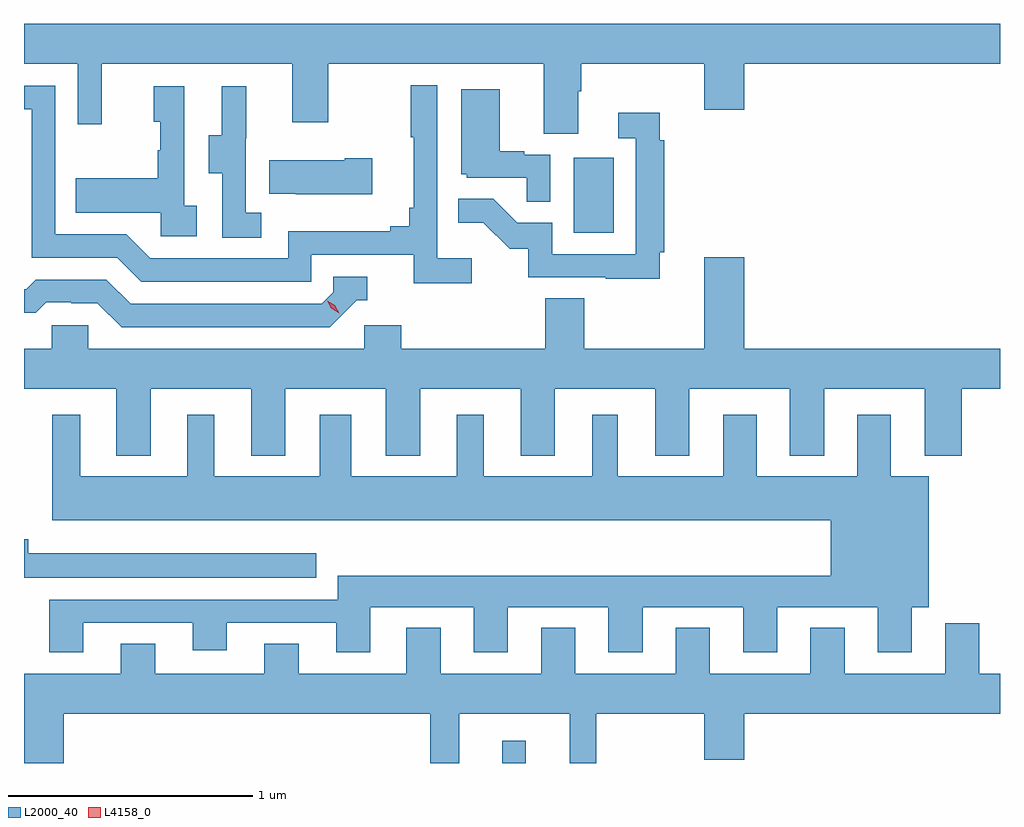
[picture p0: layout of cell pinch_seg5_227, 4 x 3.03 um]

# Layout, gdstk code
import gdstk
lib = gdstk.Library(unit=1e-6, precision=1e-09)
def R(c, l, rs):  # rectangles x0, y0, x1, y1
    for r in rs: c.add(gdstk.rectangle(r[:2], r[2:], *l))
def P(c, l, *ps):  # polygons
    for p in ps: c.add(gdstk.Polygon(p, *l))
L2000_40 = (2000, 40)
L4158_0 = (4158, 0)

pinch_seg5_227 = lib.new_cell('pinch_seg5_227')
R(pinch_seg5_227, L2000_40, [(955.388,893.855,955.485,893.947), (955.682,896.028,955.846,896.335)])
P(pinch_seg5_227, L2000_40, [(955.699,896.608),(955.712,896.608),(955.712,896.72),(956.216,896.72),(956.216,896.532),(956.38,896.532),(956.38,896.72),(957.428,896.72),(957.428,896.884),(953.428,896.884),(953.428,896.72),(953.649,896.72),(953.649,896.472),(953.747,896.472),(953.747,896.72),(954.527,896.72),(954.527,896.481),(954.675,896.481),(954.675,896.72),(955.559,896.72),(955.559,896.434),(955.699,896.434)],
  [(955.264,895.924),(955.122,895.924),(955.122,896.632),(955.014,896.632),(955.014,896.419),(955.025,896.419),(955.025,896.131),(955.006,896.131),(955.006,896.054),(954.929,896.054),(954.929,896.035),(954.51,896.035),(954.51,895.923),(953.946,895.923),(953.847,896.022),(953.556,896.022),(953.556,896.631),(953.428,896.631),(953.428,896.535),(953.46,896.535),(953.46,895.926),(953.81,895.926),(953.909,895.827),(954.606,895.827),(954.606,895.938),(955.025,895.938),(955.025,895.822),(955.264,895.822)],
  [(954.4,896.111),(954.336,896.111),(954.336,896.415),(954.338,896.415),(954.338,896.629),(954.239,896.629),(954.239,896.427),(954.185,896.427),(954.185,896.272),(954.24,896.272),(954.24,896.008),(954.4,896.008)],
  [(954.136,896.138),(954.084,896.138),(954.084,896.629),(953.96,896.629),(953.96,896.484),(953.986,896.484),(953.986,896.366),(953.976,896.366),(953.976,896.251),(953.641,896.251),(953.641,896.111),(953.988,896.111),(953.988,896.013),(954.136,896.013)],
  [(955.584,896.349),(955.478,896.349),(955.478,896.362),(955.378,896.362),(955.378,896.617),(955.22,896.617),(955.22,896.268),(955.242,896.268),(955.242,896.253),(955.489,896.253),(955.489,896.155),(955.584,896.155)],
  [(956.033,895.948),(956.051,895.948),(956.051,896.408),(956.033,896.408),(956.033,896.521),(955.863,896.521),(955.863,896.415),(955.935,896.415),(955.935,895.941),(955.593,895.941),(955.593,896.07),(955.449,896.07),(955.351,896.168),(955.207,896.168),(955.207,896.069),(955.311,896.069),(955.418,895.962),(955.495,895.962),(955.495,895.845),(955.813,895.845),(955.813,895.84),(956.033,895.84)],
  [(954.856,896.334),(954.743,896.334),(954.743,896.326),(954.433,896.326),(954.433,896.189),(954.541,896.189),(954.541,896.186),(954.856,896.186)],
  [(953.947,895.388),(954.359,895.388),(954.359,895.115),(954.499,895.115),(954.499,895.388),(954.911,895.388),(954.911,895.115),(955.051,895.115),(955.051,895.388),(955.463,895.388),(955.463,895.115),(955.603,895.115),(955.603,895.388),(956.015,895.388),(956.015,895.115),(956.155,895.115),(956.155,895.388),(956.567,895.388),(956.567,895.115),(956.707,895.115),(956.707,895.388),(957.119,895.388),(957.119,895.115),(957.272,895.115),(957.272,895.388),(957.428,895.388),(957.428,895.552),(956.38,895.552),(956.38,895.927),(956.216,895.927),(956.216,895.552),(955.725,895.552),(955.725,895.76),(955.565,895.76),(955.565,895.552),(954.974,895.552),(954.974,895.65),(954.822,895.65),(954.822,895.552),(953.691,895.552),(953.691,895.65),(953.541,895.65),(953.541,895.552),(953.428,895.552),(953.428,895.388),(953.807,895.388),(953.807,895.115),(953.947,895.115)],
  [(954.792,895.752),(954.835,895.752),(954.835,895.848),(954.696,895.848),(954.696,895.785),(954.648,895.737),(953.865,895.737),(953.766,895.836),(953.477,895.836),(953.438,895.797),(953.428,895.797),(953.428,895.701),(953.477,895.701),(953.519,895.743),(953.622,895.743),(953.622,895.74),(953.729,895.74),(953.828,895.641),(954.681,895.641)],
  [(953.671,894.429),(954.119,894.429),(954.119,894.317),(954.259,894.317),(954.259,894.429),(954.707,894.429),(954.707,894.309),(954.847,894.309),(954.847,894.494),(955.271,894.494),(955.271,894.309),(955.411,894.309),(955.411,894.494),(955.823,894.494),(955.823,894.309),(955.963,894.309),(955.963,894.494),(956.375,894.494),(956.375,894.309),(956.515,894.309),(956.515,894.494),(956.927,894.494),(956.927,894.309),(957.067,894.309),(957.067,894.494),(957.136,894.494),(957.136,895.03),(956.98,895.03),(956.98,895.282),(956.843,895.282),(956.843,895.03),(956.431,895.03),(956.431,895.282),(956.294,895.282),(956.294,895.03),(955.861,895.03),(955.861,895.282),(955.757,895.282),(955.757,895.03),(955.312,895.03),(955.312,895.282),(955.202,895.282),(955.202,895.03),(954.769,895.03),(954.769,895.282),(954.641,895.282),(954.641,895.03),(954.208,895.03),(954.208,895.282),(954.098,895.282),(954.098,895.03),(953.659,895.03),(953.659,895.282),(953.543,895.282),(953.543,894.851),(956.735,894.851),(956.735,894.622),(954.713,894.622),(954.713,894.525),(953.531,894.525),(953.531,894.309),(953.671,894.309)],
  [(954.625,894.715),(953.446,894.715),(953.446,894.772),(953.428,894.772),(953.428,894.614),(954.625,894.614)],
  [(953.59,894.056),(955.093,894.056),(955.093,893.855),(955.211,893.855),(955.211,894.056),(955.664,894.056),(955.664,893.855),(955.774,893.855),(955.774,894.056),(956.216,894.056),(956.216,893.868),(956.38,893.868),(956.38,894.056),(957.428,894.056),(957.428,894.22),(957.343,894.22),(957.343,894.427),(957.203,894.427),(957.203,894.22),(956.791,894.22),(956.791,894.409),(956.651,894.409),(956.651,894.22),(956.239,894.22),(956.239,894.409),(956.099,894.409),(956.099,894.22),(955.687,894.22),(955.687,894.409),(955.547,894.409),(955.547,894.22),(955.135,894.22),(955.135,894.409),(954.995,894.409),(954.995,894.22),(954.553,894.22),(954.553,894.344),(954.413,894.344),(954.413,894.22),(953.965,894.22),(953.965,894.344),(953.825,894.344),(953.825,894.22),(953.428,894.22),(953.428,893.855),(953.59,893.855)])
P(pinch_seg5_227, L4158_0, [(954.719,895.698),(954.688,895.718),(954.671,895.75),(954.671,895.75),(954.671,895.75),(954.702,895.731),(954.719,895.699),(954.719,895.698)])

lib.write_gds('pinch_seg5_227.gds')
